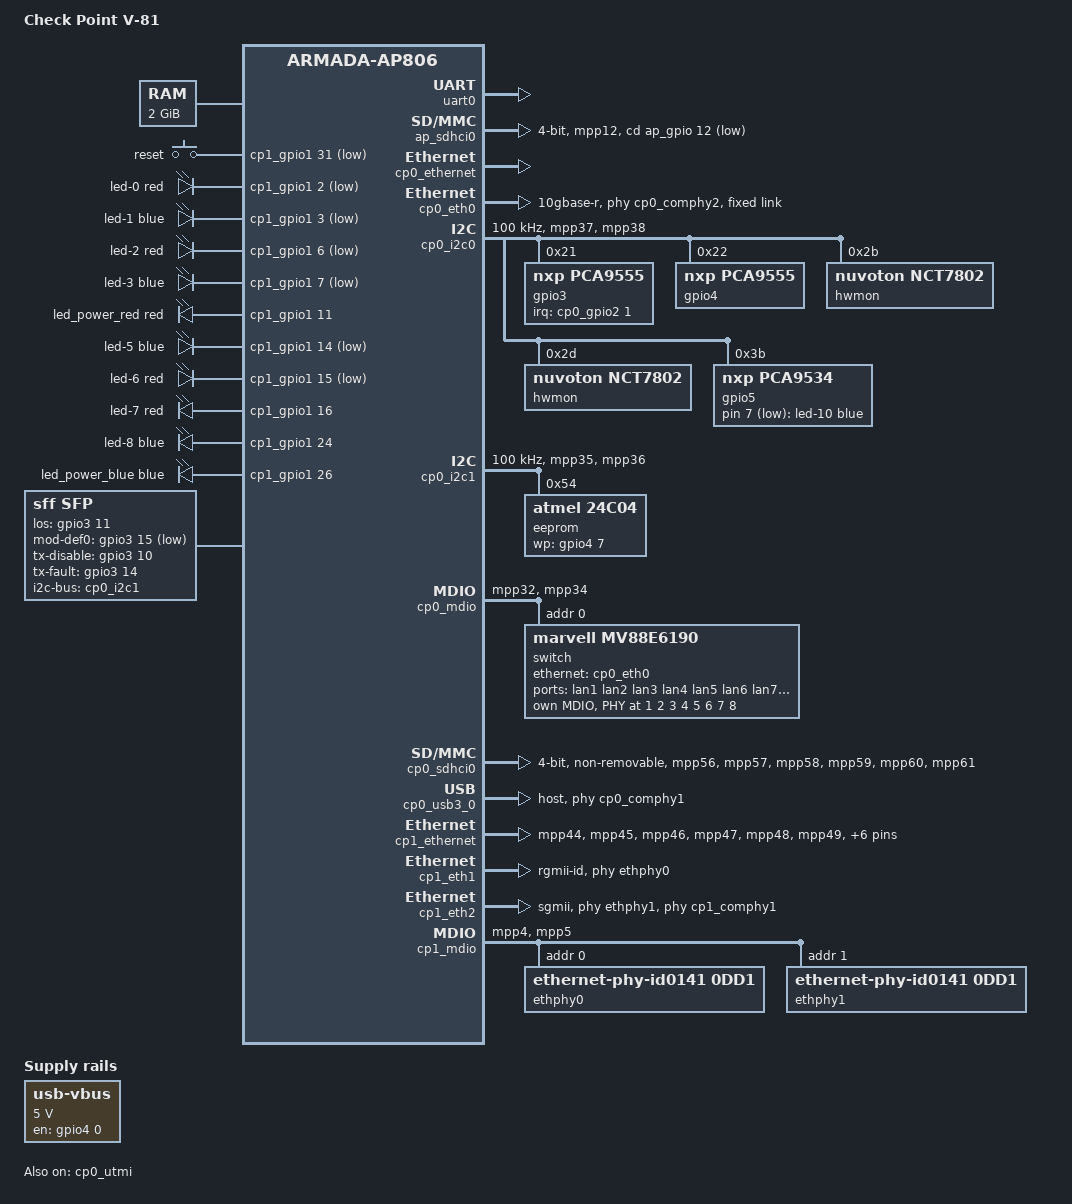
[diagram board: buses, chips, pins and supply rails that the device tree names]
// SPDX-License-Identifier: GPL-2.0-or-later OR MIT

/dts-v1/;

#include <dt-bindings/gpio/gpio.h>
#include <dt-bindings/input/input.h>
#include <dt-bindings/interrupt-controller/irq.h>
#include <dt-bindings/leds/common.h>
#include "armada-8040.dtsi"

/ {
	model = "Check Point V-81";
	compatible = "checkpoint,v-81", "marvell,armada8040",
		     "marvell,armada-ap806-quad", "marvell,armada-ap806";

	aliases {
		ethernet0 = &cp0_eth0;
		ethernet1 = &cp1_eth1;
		ethernet2 = &cp1_eth2;
		mmc0 = &ap_sdhci0;
		mmc1 = &cp0_sdhci0;
		led-boot = &led_power_blue;
		led-failsafe = &led_power_red;
		led-running = &led_power_blue;
		led-upgrade = &led_power_blue;
		label-mac-device = &cp1_eth2;
	};

	chosen {
		stdout-path = "serial0:115200n8";
	};

	memory@0 {
		device_type = "memory";
		reg = <0x00000000 0x00000000 0x00000000 0x80000000>;
	};

	keys {
		compatible = "gpio-keys";
		pinctrl-0 = <&pmx_gpio_keys_pins>;
		pinctrl-names = "default";

		button-reset {
			label = "reset";
			gpios = <&cp1_gpio1 31 GPIO_ACTIVE_LOW>;
			linux,code = <KEY_RESTART>;
		};
	};

	leds {
		compatible = "gpio-leds";
		pinctrl-0 = <&pmx_gpio_leds_pins>;
		pinctrl-names = "default";

		led-0 {
			gpios = <&cp1_gpio1 2 GPIO_ACTIVE_LOW>;
			color = <LED_COLOR_ID_RED>;
			function = "management";
		};

		led-1 {
			gpios = <&cp1_gpio1 3 GPIO_ACTIVE_LOW>;
			color = <LED_COLOR_ID_BLUE>;
			function = "management";
		};

		led-2 {
			gpios = <&cp1_gpio1 6 GPIO_ACTIVE_LOW>;
			color = <LED_COLOR_ID_RED>;
			function = LED_FUNCTION_WAN_ONLINE;
		};

		led-3 {
			gpios = <&cp1_gpio1 7 GPIO_ACTIVE_LOW>;
			color = <LED_COLOR_ID_BLUE>;
			function = LED_FUNCTION_WAN_ONLINE;
		};

		led_power_red: led-4 {
			gpios = <&cp1_gpio1 11 GPIO_ACTIVE_HIGH>;
			color = <LED_COLOR_ID_RED>;
			function = LED_FUNCTION_POWER;
		};

		/* populated but no hole on the case ("LTE" or "DSL") */
		led-5 {
			gpios = <&cp1_gpio1 14 GPIO_ACTIVE_LOW>;
			color = <LED_COLOR_ID_BLUE>;
			function = LED_FUNCTION_MOBILE;
		};

		/* populated but no hole on the case ("LTE" or "DSL") */
		led-6 {
			gpios = <&cp1_gpio1 15 GPIO_ACTIVE_LOW>;
			color = <LED_COLOR_ID_RED>;
			function = LED_FUNCTION_MOBILE;
		};

		/* populated but no hole on the case */
		led-7 {
			gpios = <&cp1_gpio1 16 GPIO_ACTIVE_HIGH>;
			color = <LED_COLOR_ID_RED>;
			function = LED_FUNCTION_WLAN;
		};

		/* populated but no hole on the case */
		led-8 {
			gpios = <&cp1_gpio1 24 GPIO_ACTIVE_HIGH>;
			color = <LED_COLOR_ID_BLUE>;
			function = LED_FUNCTION_WLAN;
		};

		led_power_blue: led-9 {
			gpios = <&cp1_gpio1 26 GPIO_ACTIVE_HIGH>;
			color = <LED_COLOR_ID_BLUE>;
			function = LED_FUNCTION_POWER;
		};

		/* populated but no hole on the case (unused) */
		led-10 {
			gpios = <&gpio5 7 GPIO_ACTIVE_LOW>;
			color = <LED_COLOR_ID_BLUE>;
			function = "unused";
		};
	};

	regulator-usb-vbus {
		compatible = "regulator-fixed";
		regulator-name = "usb-vbus";
		gpios = <&gpio4 0 GPIO_ACTIVE_HIGH>;
		regulator-min-microvolt = <5000000>;
		regulator-max-microvolt = <5000000>;
		enable-active-high;
		regulator-always-on;
	};

	sfp: sfp {
		/*
		 * Note: port LEDs on RJ45/SFP are switched
		 *       by pin7 on &cp0_gpio2
		 *
		 * - HIGH: RJ45
		 * - LOW : SFP
		 */
		compatible = "sff,sfp";
		i2c-bus = <&cp0_i2c1>;
		los-gpios = <&gpio3 11 GPIO_ACTIVE_HIGH>;
		mod-def0-gpios = <&gpio3 15 GPIO_ACTIVE_LOW>;
		tx-disable-gpios = <&gpio3 10 GPIO_ACTIVE_HIGH>;
		tx-fault-gpios = <&gpio3 14 GPIO_ACTIVE_HIGH>;
		maximum-power-milliwatt = <2000>;
	};
};

/* USB Type-C UART console */
&uart0 {
	status = "okay";

	pinctrl-0 = <&uart0_pins>;
	pinctrl-names = "default";
};

&ap_pinctrl {
	pmx_ap_sdhci0_pins: ap-sdhci0-pins {
		marvell,pins = "mpp12";
		marvell,function = "gpio";
	};
};

/* MicroSD slot */
&ap_sdhci0 {
	status = "okay";

	pinctrl-0 = <&pmx_ap_sdhci0_pins>;
	pinctrl-names = "default";
	bus-width = <4>;
	cd-gpios = <&ap_gpio 12 GPIO_ACTIVE_LOW>;
	/*
	 * Not stable in HS modes - phy needs "more calibration", so add
	 * the "slow-mode" and disable SDR104, SDR50 and DDR50 modes.
	 */
	marvell,xenon-phy-slow-mode;
	no-1-8-v;
};

&cp0_ethernet {
	status = "okay";
};

/* LAN1-8 (Switch) */
&cp0_eth0 {
	status = "okay";

	phy-connection-type = "10gbase-r";
	phys = <&cp0_comphy2 0>;

	fixed-link {
		speed = <10000>;
		full-duplex;
	};
};

/* 2x PCA9555, 2x NCT7802Y, TCA9534A */
&cp0_i2c0 {
	status = "okay";

	pinctrl-names = "default";
	pinctrl-0 = <&pmx_cp0_i2c0_pins>;
	clock-frequency = <100000>;

	gpio3: gpio@21 {
		pinctrl-0 = <&pmx_pca9555_pins>;
		pinctrl-names = "default";
		compatible = "nxp,pca9555";
		reg = <0x21>;
		gpio-controller;
		#gpio-cells = <2>;
		interrupt-parent = <&cp0_gpio2>;
		interrupts = <1 IRQ_TYPE_EDGE_FALLING>;
		interrupt-controller;
		#interrupt-cells = <2>;
	};

	gpio4: gpio@22 {
		compatible = "nxp,pca9555";
		reg = <0x22>;
		gpio-controller;
		#gpio-cells = <2>;
	};

	hwmon@2b {
		compatible = "nuvoton,nct7802";
		reg = <0x2b>;
	};

	hwmon@2d {
		compatible = "nuvoton,nct7802";
		reg = <0x2d>;
	};

	/* TI TCA9534A */
	gpio5: gpio@3b {
		compatible = "nxp,pca9534";
		reg = <0x3b>;
		gpio-controller;
		#gpio-cells = <2>;
	};
};

/* EEPROM */
&cp0_i2c1 {
	status = "okay";

	pinctrl-names = "default";
	pinctrl-0 = <&pmx_cp0_i2c1_pins>;
	clock-frequency = <100000>;

	/* Giantec GT24C04A */
	eeprom@54 {
		compatible = "atmel,24c04";
		reg = <0x54>;
		wp-gpios = <&gpio4 7 GPIO_ACTIVE_HIGH>;
		read-only;
	};
};

&cp0_mdio {
	status = "okay";

	pinctrl-0 = <&pmx_cp0_mdio_pins>;
	pinctrl-names = "default";

	/* Marvell 88E6393X */
	switch@0 {
		compatible = "marvell,mv88e6190";
		reg = <0x0>;

		ports {
			#address-cells = <1>;
			#size-cells = <0>;

			port@0 {
				reg = <0>;
				ethernet = <&cp0_eth0>;
				phy-connection-type = "10gbase-r";

				fixed-link {
					speed = <10000>;
					full-duplex;
				};
			};

			swport1: port@1 {
				reg = <1>;
				label = "lan1";
				phy-handle = <&swphy1>;
			};

			swport2: port@2 {
				reg = <2>;
				label = "lan2";
				phy-handle = <&swphy2>;
			};

			swport3: port@3 {
				reg = <3>;
				label = "lan3";
				phy-handle = <&swphy3>;
			};

			swport4: port@4 {
				reg = <4>;
				label = "lan4";
				phy-handle = <&swphy4>;
			};

			swport5: port@5 {
				reg = <5>;
				label = "lan5";
				phy-handle = <&swphy5>;
			};

			swport6: port@6 {
				reg = <6>;
				label = "lan6";
				phy-handle = <&swphy6>;
			};

			swport7: port@7 {
				reg = <7>;
				label = "lan7";
				phy-handle = <&swphy7>;
			};

			swport8: port@8 {
				reg = <8>;
				label = "lan8";
				phy-handle = <&swphy8>;
			};
		};

		mdio {
			#address-cells = <1>;
			#size-cells = <0>;

			swphy1: switch-phy@1 {
				reg = <0x1>;
			};

			swphy2: switch-phy@2 {
				reg = <0x2>;
			};

			swphy3: switch-phy@3 {
				reg = <0x3>;
			};

			swphy4: switch-phy@4 {
				reg = <0x4>;
			};

			swphy5: switch-phy@5 {
				reg = <0x5>;
			};

			swphy6: switch-phy@6 {
				reg = <0x6>;
			};

			swphy7: switch-phy@7 {
				reg = <0x7>;
			};

			swphy8: switch-phy@8 {
				reg = <0x8>;
			};
		};
	};
};

&cp0_pinctrl {
	pmx_cp0_mdio_pins: cp0-mdio-pins {
		marvell,pins = "mpp32", "mpp34";
		marvell,function = "ge";
	};

	pmx_cp0_spi1_pins: cp0-spi0-pins {
		marvell,pins = "mpp40", "mpp41", "mpp42", "mpp43";
		marvell,function = "spi0";
	};

	pmx_cp0_i2c0_pins: cp0-i2c0-pins {
		marvell,pins = "mpp37", "mpp38";
		marvell,function = "i2c0";
	};

	pmx_cp0_i2c1_pins: cp0-i2c1-pins {
		marvell,pins = "mpp35", "mpp36";
		marvell,function = "i2c1";
	};

	pmx_cp0_sdhci0_pins: cp0-sdhci0-pins {
		marvell,pins = "mpp56", "mpp57","mpp58", "mpp59", "mpp60", "mpp61";
		marvell,function = "sdio";
	};

	pmx_cp1_rgmii1_pins: cp1-rgmii1-pins {
		marvell,pins = "mpp44", "mpp45", "mpp46", "mpp47", "mpp48", "mpp49",
			       "mpp50", "mpp51", "mpp52", "mpp53", "mpp54", "mpp55";
		marvell,function = "ge1";
	};

	pmx_pca9555_pins: pca9555-pins {
		marvell,pins = "mpp33";
		marvell,function = "gpio";
	};
};

/* eMMC */
&cp0_sdhci0 {
	status = "okay";

	pinctrl-names = "default";
	pinctrl-0 = <&pmx_cp0_sdhci0_pins>;
	bus-width = <4>;
	non-removable;
};

&cp0_utmi {
	status = "okay";
};

/* USB 3.0 Type-A */
&cp0_usb3_0 {
	status = "okay";

	dr_mode = "host";
	phys = <&cp0_comphy1 0>, <&cp0_utmi0>;
	phy-names = "cp0-usb3h0-comphy", "utmi";
};

&cp1_ethernet {
	status = "okay";

	pinctrl-0 = <&pmx_cp1_rgmii1_pins>;
	pinctrl-names = "default";
};

/* "DMZ" (RJ45/SFP) */
&cp1_eth1 {
	status = "okay";

	phy-connection-type = "rgmii-id";
	phy-handle = <&ethphy0>;
};

/* "WAN" */
&cp1_eth2 {
	status = "okay";

	phy-connection-type = "sgmii";
	phy-handle = <&ethphy1>;
	phys = <&cp1_comphy1 2>;
};

&cp1_mdio {
	status = "okay";

	pinctrl-0 = <&pmx_cp1_mdio_pins>;
	pinctrl-names = "default";

	/* Marvell 88E1512 */
	ethphy0: ethernet-phy@0 {
		compatible = "ethernet-phy-id0141,0dd1",
			     "ethernet-phy-ieee802.3-c22";
		reg = <0x0>;
		/*
		 * LED[0] (Green): LINK/ACT
		 * LED[1] (Amber): SPEED 100/1000M
		 */
		marvell,reg-init = <3 16 0 0x61>;
		sfp = <&sfp>;
	};

	/* Marvell 88E1512 */
	ethphy1: ethernet-phy@1 {
		compatible = "ethernet-phy-id0141,0dd1",
			     "ethernet-phy-ieee802.3-c22";
		reg = <0x1>;
		/*
		 * LED[0] (Green): LINK/ACT
		 * LED[1] (Amber): SPEED 100/1000M
		 */
		marvell,reg-init = <3 16 0 0x61>;
	};
};

&cp1_pinctrl {
	pmx_gpio_keys_pins: gpio-keys-pins {
		marvell,pins = "mpp31";
		marvell,function = "gpio";
	};

	pmx_gpio_leds_pins: gpio-leds-pins {
		marvell,pins = "mpp2", "mpp3", "mpp6", "mpp7", "mpp11", "mpp14",
			       "mpp15", "mpp16", "mpp24", "mpp26";
		marvell,function = "gpio";
	};

	pmx_cp1_mdio_pins: mdio-pins {
		marvell,pins = "mpp4", "mpp5";
		marvell,function = "ge";
	};
};
